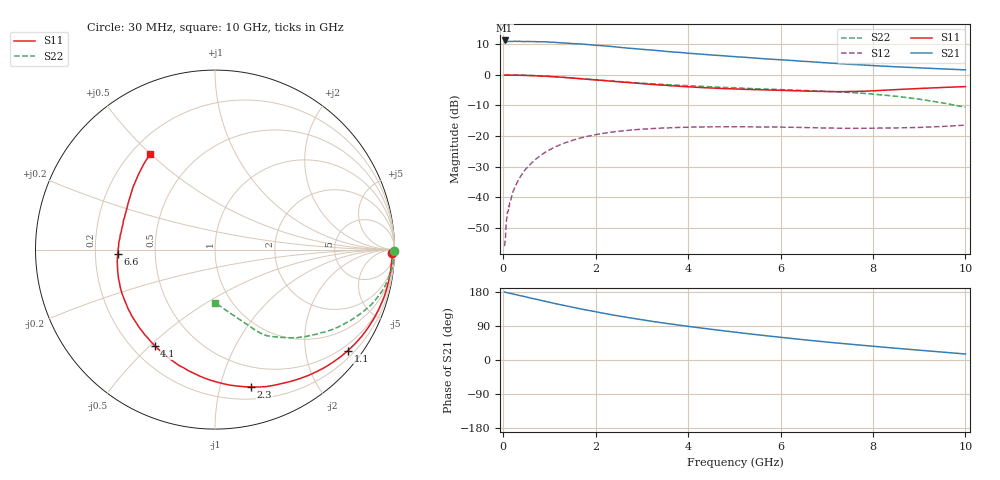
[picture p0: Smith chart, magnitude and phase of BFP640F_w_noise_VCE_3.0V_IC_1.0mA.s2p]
! Infineon Technologies  Discrete & RF Semiconductors
! BFP640F
! VCE =  3.0 V,  IC =  1.0 mA
! Common Emitter S-Parameters:  Apr 2013
# GHz  S  MA  R  50
!  f  S11  S21  S12  S22
! GHz  MAG  ANG  MAG  ANG  MAG  ANG  MAG  ANG
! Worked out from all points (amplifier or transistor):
!   99 points, 30 MHz to 10 GHz, reference 50 ohm
!   highest |S21| = 11.2 dB at 30 MHz (marker M1)
!   |S21| within 3 dB of that: start of sweep to 3.086 GHz
!   unconditionally stable (mu >= 1): 6.406 GHz to end of sweep
!   at 350 MHz: K = -0.01, MSG = 22.3 dB, |S12| = -33.7 dB
!   at 3.5 GHz: K = 0.52, MSG = 12.5 dB, |S12| = -17.3 dB
!   at 10 GHz: K = 1.37, MAG = 5.4 dB, |S12| = -16.4 dB
!   lowest NFmin = 0.52 dB at 450 MHz
!   S11 on the Smith chart (normalised r, x): 30 MHz: 55, -75; 1.1 GHz: 0.35, -2.93; 2.3 GHz: 0.31, -1.25; 4.1 GHz: 0.29, -0.52; 6.6 GHz: 0.30, -0.02; 10 GHz: 0.27, +0.50
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0.03  0.9873 -1.0  3.638 179.2  0.0016 96.7  0.9996 -0.5
0.04  0.9875 -1.4  3.443 178.9  0.002 91.3  0.999 -0.6
0.05  0.9885 -1.7  3.48 178.8  0.0023 64.4  1 -0.9
0.06  0.9866 -2.0  3.461 178.2  0.0035 84.1  0.9999 -1.0
0.09  0.9875 -3.0  3.468 177.5  0.0058 86.7  0.9984 -1.5
0.11  0.9866 -3.7  3.509 177.0  0.0059 82.3  0.999 -1.9
0.12  0.986 -4.1  3.515 176.7  0.0072 89.8  0.9987 -2.1
0.2  0.9855 -6.8  3.503 174.5  0.0117 85.8  0.9972 -3.4
0.3  0.9834 -10.1  3.511 171.7  0.0174 85.3  0.9939 -5.1
0.6  0.971 -20.3  3.493 163.3  0.0356 80.1  0.9776 -10.1
0.9  0.9498 -30.5  3.464 155.1  0.0539 73.7  0.9538 -14.8
1.1  0.9303 -37.2  3.399 149.6  0.0653 69.2  0.9338 -17.9
1.7  0.8601 -56.7  3.181 134.2  0.0942 56.5  0.8644 -26.1
2.3  0.7913 -75.2  2.926 120.4  0.115 45.4  0.797 -33.5
2.8  0.7384 -89.1  2.691 110.1  0.1261 37.9  0.7465 -38.6
3.4  0.6812 -104.9  2.468 98.8  0.1347 30.6  0.7008 -43.7
4.1  0.6323 -122.1  2.225 87.3  0.1402 24.0  0.659 -48.2
5.1  0.5855 -146.0  1.956 72.3  0.1421 17.1  0.608 -53.4
6.6  0.5421 -177.7  1.646 52.2  0.1376 11.6  0.5517 -59.7
6.7  0.5399 -179.8  1.625 51.0  0.1371 11.3  0.5485 -60.0
8.5  0.5739 142.8  1.352 31.0  0.1362 14.1  0.4463 -67.4
10  0.6425 124.4  1.205 15.8  0.1511 17.5  0.2967 -89.6
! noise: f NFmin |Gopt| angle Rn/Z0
0.45  0.52  0.75  11  0.34
0.9  0.69  0.71  23  0.33
1.5  0.87  0.7  32  0.32
1.9  0.98  0.65  47  0.31
2.4  1.13  0.64  66  0.3
3.5  1.33  0.56  84  0.28
5.5  1.77  0.48  144  0.26
10  2.96  0.61  -113  0.48
